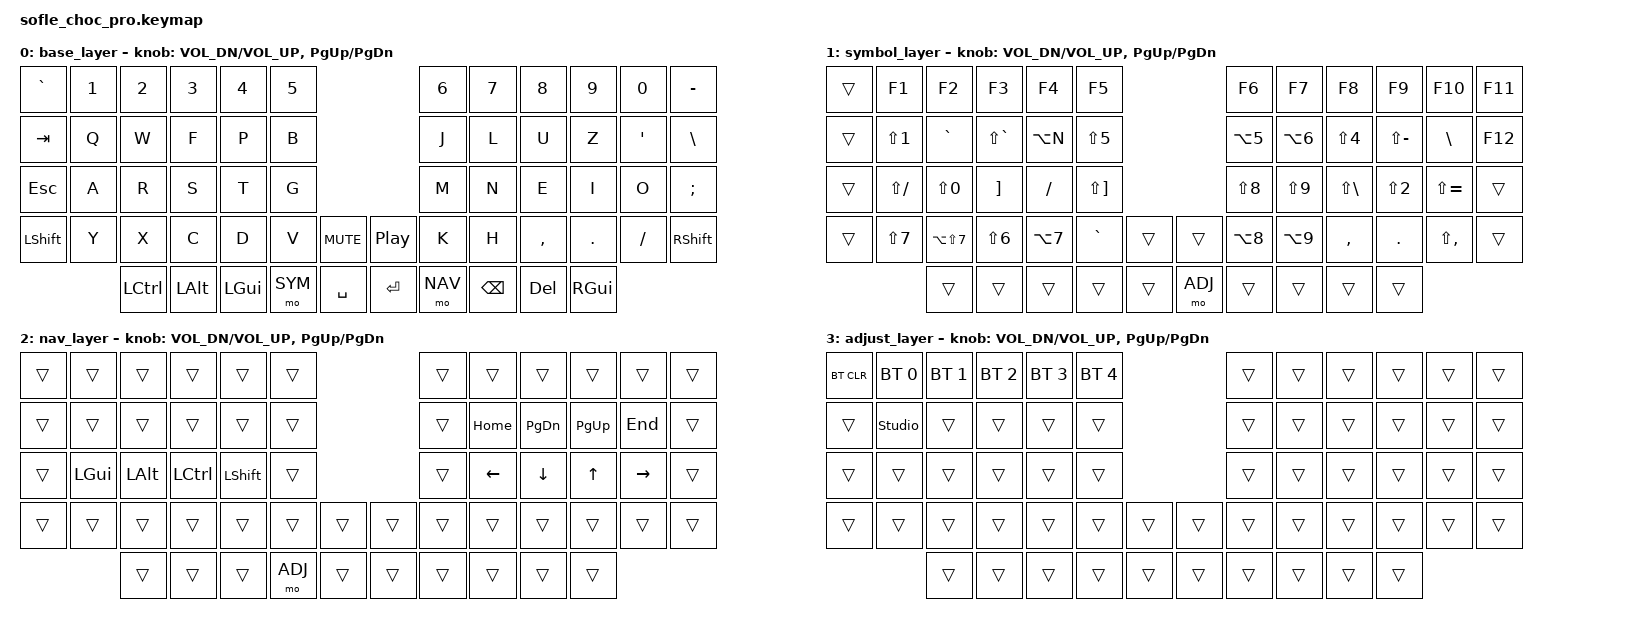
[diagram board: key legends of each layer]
#include <behaviors.dtsi>
#include <dt-bindings/zmk/keys.h>
#include <dt-bindings/zmk/bt.h>
#include <dt-bindings/zmk/ext_power.h>

#define BASE 0
#define SYM  1
#define NAV  2
#define ADJ  3

/ {
    combos {
        compatible = "zmk,combos";
        timeout-ms = <40>;

        /* Colemak-DH linke Hand: Pos 25 (A) + Pos 26 (R) = ä */
        combo_ae {
            key-positions = <25 26>;
            bindings = <&kp SQT>;    /* Sendet 'ä' an macOS DE */
            layers = <BASE>;
        };

        /* Colemak-DH linke Hand: Pos 27 (S) + Pos 28 (T) = ß */
        combo_ss {
            key-positions = <27 28>;
            bindings = <&kp MINUS>;  /* Sendet 'ß' an macOS DE */
            layers = <BASE>;
        };

        /* Colemak-DH rechte Hand: Pos 20 (U) + Pos 21 (Z/Y) = ü */
        combo_ue {
            key-positions = <20 21>;
            bindings = <&kp LBKT>;   /* Sendet 'ü' an macOS DE */
            layers = <BASE>;
        };

        /* Colemak-DH rechte Hand: Pos 33 (I) + Pos 34 (O) = ö */
        combo_oe {
            key-positions = <33 34>;
            bindings = <&kp SEMI>;   /* Sendet 'ö' an macOS DE */
            layers = <BASE>;
        };
    };

    keymap {
        compatible = "zmk,keymap";

        /* ==========================================================================
           LAYER 0: BASE (Colemak-DH für macOS German Input)
           ========================================================================== */
        base_layer {
            bindings = <
&kp GRAVE &kp N1 &kp N2 &kp N3   &kp N4   &kp N5                         &kp N6 &kp N7   &kp N8    &kp N9  &kp N0   &kp MINUS
&kp TAB   &kp Q  &kp W  &kp F    &kp P    &kp B                          &kp J  &kp L    &kp U     &kp Z   &kp SQT  &kp BSLH
&kp ESC   &kp A  &kp R  &kp S    &kp T    &kp G                          &kp M  &kp N    &kp E     &kp I   &kp O    &kp SEMI
&kp LSHFT &kp Y  &kp X  &kp C    &kp D    &kp V   &kp C_MUTE   &kp C_PP  &kp K  &kp H    &kp COMMA &kp DOT &kp FSLH &kp RSHFT
                 &kp LCTRL &kp LALT &kp LGUI &mo SYM &kp SPACE    &kp ENTER &mo NAV &kp BSPC &kp DEL &kp RGUI
            >;
            sensor-bindings = <&inc_dec_kp C_VOL_DN C_VOL_UP &inc_dec_kp PG_UP PG_DN>;
        };

        /* ==========================================================================
           LAYER 1: SYM (SQL, Jinja & Dev-Symbole auf macOS DE)
           ========================================================================== */
        symbol_layer {
            bindings = <
&trans    &kp F1        &kp F2         &kp F3        &kp F4        &kp F5                            &kp F6        &kp F7        &kp F8        &kp F9        &kp F10       &kp F11
&trans    &kp LS(N1)    &kp GRAVE      &kp LS(GRAVE) &kp LA(N)     &kp LS(N5)                        &kp LA(N5)    &kp LA(N6)    &kp LS(N4)    &kp LS(MINUS) &kp BSLH      &kp F12
&trans    &kp LS(FSLH)  &kp LS(N0)     &kp RBKT      &kp FSLH      &kp LS(RBKT)                      &kp LS(N8)    &kp LS(N9)    &kp LS(BSLH)  &kp LS(N2)    &kp LS(EQUAL) &trans
&trans    &kp LS(N7)    &kp LA(LS(N7)) &kp LS(N6)    &kp LA(N7)    &kp GRAVE     &trans    &trans    &kp LA(N8)    &kp LA(N9)    &kp COMMA     &kp DOT       &kp LS(COMMA) &trans
                        &trans         &trans        &trans        &trans        &trans    &mo ADJ   &trans        &trans        &trans        &trans
            >;
            sensor-bindings = <&inc_dec_kp C_VOL_DN C_VOL_UP &inc_dec_kp PG_UP PG_DN>;
        };

        /* ==========================================================================
           LAYER 2: NAV (Navigation & Editing - Pfeiltasten auf N, E, I, O)
           ========================================================================== */
        nav_layer {
            bindings = <
&trans    &trans    &trans    &trans    &trans    &trans                         &trans    &trans    &trans    &trans     &trans    &trans
&trans    &trans    &trans    &trans    &trans    &trans                         &trans    &kp HOME  &kp PG_DN &kp PG_UP  &kp END   &trans
&trans    &kp LGUI  &kp LALT  &kp LCTRL &kp LSHFT &trans                         &trans    &kp LEFT  &kp DOWN  &kp UP     &kp RIGHT &trans
&trans    &trans    &trans    &trans    &trans    &trans    &trans     &trans    &trans    &trans    &trans    &trans     &trans    &trans
                    &trans    &trans    &trans    &mo ADJ   &trans     &trans    &trans    &trans    &trans    &trans
            >;
            sensor-bindings = <&inc_dec_kp C_VOL_DN C_VOL_UP &inc_dec_kp PG_UP PG_DN>;
        };

        /* ==========================================================================
           LAYER 3: ADJ (Bluetooth-Profile & Studio Unlock)
           ========================================================================== */
        adjust_layer {
            bindings = <
&bt BT_CLR &bt BT_SEL 0    &bt BT_SEL 1 &bt BT_SEL 2 &bt BT_SEL 3 &bt BT_SEL 4                &trans &trans &trans &trans &trans &trans
&trans     &studio_unlock  &trans       &trans       &trans       &trans                      &trans &trans &trans &trans &trans &trans
&trans     &trans          &trans       &trans       &trans       &trans                      &trans &trans &trans &trans &trans &trans
&trans     &trans          &trans       &trans       &trans       &trans    &trans   &trans   &trans &trans &trans &trans &trans &trans
                           &trans       &trans       &trans       &trans    &trans   &trans   &trans &trans &trans &trans
            >;
            sensor-bindings = <&inc_dec_kp C_VOL_DN C_VOL_UP &inc_dec_kp PG_UP PG_DN>;
        };
    };
};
